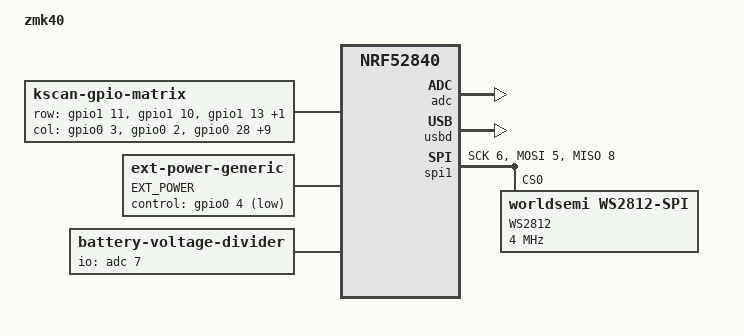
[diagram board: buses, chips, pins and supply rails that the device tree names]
/*
 * Copyright (c) 2020 The ZMK Contributors
 *
 * SPDX-License-Identifier: MIT
 */

/dts-v1/;
#include <nordic/nrf52840_qiaa.dtsi>
#include <dt-bindings/zmk/matrix-transform.h>

/ {
	model = "zmk40";
	compatible = "zmk40";

	chosen {
		zephyr,code-partition = &code_partition;
		zephyr,sram = &sram0;
		zephyr,flash = &flash0;
		zmk,kscan = &kscan0;
		zmk,underglow = &led_strip;
	};
 
	kscan0: kscan {
		compatible = "zmk,kscan-gpio-matrix";
		label = "KSCAN";
		diode-direction = "col2row";
		row-gpios
			= <&gpio1 11 (GPIO_ACTIVE_HIGH | GPIO_PULL_DOWN)>
			, <&gpio1 10 (GPIO_ACTIVE_HIGH | GPIO_PULL_DOWN)>
			, <&gpio1 13 (GPIO_ACTIVE_HIGH | GPIO_PULL_DOWN)>
			, <&gpio1 15  (GPIO_ACTIVE_HIGH | GPIO_PULL_DOWN)>
			;
		col-gpios
			= <&gpio0 3  GPIO_ACTIVE_HIGH>
			, <&gpio0 2  GPIO_ACTIVE_HIGH>
			, <&gpio0 28 GPIO_ACTIVE_HIGH>
			, <&gpio0 7  GPIO_ACTIVE_HIGH>
			, <&gpio1 9  GPIO_ACTIVE_HIGH>
			, <&gpio0 12 GPIO_ACTIVE_HIGH>
			, <&gpio0 23 GPIO_ACTIVE_HIGH>
			, <&gpio0 21 GPIO_ACTIVE_HIGH>
			, <&gpio0 19 GPIO_ACTIVE_HIGH>
			, <&gpio0 22 GPIO_ACTIVE_HIGH>
			, <&gpio1 0  GPIO_ACTIVE_HIGH>
			, <&gpio1 3  GPIO_ACTIVE_HIGH>
			;
	};

	// sensors {
    // 	compatible = "zmk,keymap-sensors";
    // 	sensors = <&left_encoder>;
	// };

	// left_encoder: encoder_left {
    //     compatible = "alps,ec11";
    //     label = "LEFT_ENCODER";
    //     a-gpios = <&gpio1 11 (GPIO_ACTIVE_HIGH | GPIO_PULL_UP)>;
    //     b-gpios = <&gpio1 10 (GPIO_ACTIVE_HIGH | GPIO_PULL_UP)>;
    //     resolution = <2>;
    // };

	ext-power {
		compatible = "zmk,ext-power-generic";
		label = "EXT_POWER";
		control-gpios = <&gpio0 4 GPIO_ACTIVE_LOW>;
	};

	vbatt {
		compatible = "zmk,battery-voltage-divider";
		label = "BATTERY";
		io-channels = <&adc 7>;
		output-ohms = <2000000>;
		full-ohms = <(2000000 + 806000)>;
	};
};

&adc {
	status = "okay";
};

&gpio0 {
	status = "okay";
};

&gpio1 {
	status = "okay";
};
&usbd {
	status = "okay";
};

&spi1 {
  compatible = "nordic,nrf-spim";
  status = "okay";
  mosi-pin = <5>;
  // Unused pins, needed for SPI definition, but not used by the ws2812 driver itself.
  sck-pin = <6>;
  miso-pin = <8>;

  led_strip: ws2812@0 {
    compatible = "worldsemi,ws2812-spi";
    label = "WS2812";

    /* SPI */
    reg = <0>; /* ignored, but necessary for SPI bindings */
    spi-max-frequency = <4000000>;

    /* WS2812 */
    chain-length = <3>; /* number of LEDs */
    spi-one-frame = <0x70>;
    spi-zero-frame = <0x40>;
  };
};


&flash0 {
	/*
	 * For more information, see:
	 * http://docs.zephyrproject.org/latest/devices/dts/flash_partitions.html
	 */
	partitions {
		compatible = "fixed-partitions";
		#address-cells = <1>;
		#size-cells = <1>;

		sd_partition: partition@0 {
			label = "softdevice";
			reg = <0x00000000 0x00026000>;
		};
		code_partition: partition@26000 {
			label = "code_partition";
			reg = <0x00026000 0x000c6000>;
		};

		/*
		 * The flash starting at 0x000ec000 and ending at
		 * 0x000f3fff is reserved for use by the application.
		 */

		/*
		 * Storage partition will be used by FCB/LittleFS/NVS
		 * if enabled.
		 */
		storage_partition: partition@ec000 {
			label = "storage";
			reg = <0x000ec000 0x00008000>;
		};

		boot_partition: partition@f4000 {
			label = "adafruit_boot";
			reg = <0x000f4000 0x0000c000>;
		};
	};
};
